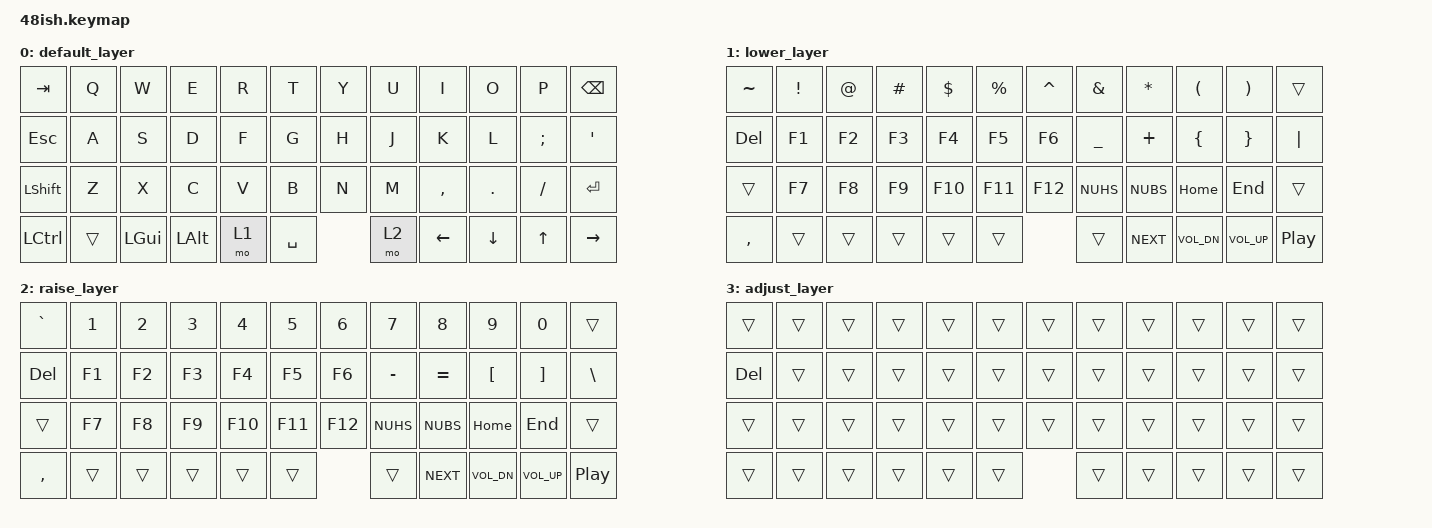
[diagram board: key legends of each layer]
#include <behaviors.dtsi>
#include <dt-bindings/zmk/keys.h>

/ {
	keymap {
		compatible = "zmk,keymap";

		default_layer { // Layer 0
			bindings = <
				&kp TAB     &kp Q      &kp W     &kp E     &kp R  &kp T      &kp Y      &kp U  &kp I      &kp O       &kp P      &kp BSPC
				&kp ESC     &kp A      &kp S     &kp D     &kp F  &kp G      &kp H      &kp J  &kp K      &kp L       &kp SEMI   &kp APOS
				&kp LSHIFT  &kp Z      &kp X     &kp C     &kp V  &kp B      &kp N      &kp M  &kp COMMA  &kp PERIOD  &kp SLASH  &kp ENTER
				&kp LCTRL   &trans     &kp LGUI  &kp LALT  &mo 1  &kp SPACE             &mo 2  &kp LEFT   &kp DOWN    &kp UP     &kp RIGHT
			>;
		};

		lower_layer { // Layer 1
			bindings = <
				&kp TILDE  &kp EXCL  &kp AT  &kp HASH  &kp DLLR  &kp PRCNT  &kp CARET  &kp AMPS   &kp STAR    &kp LPAR      &kp RPAR      &trans
				&kp DEL    &kp F1    &kp F2  &kp F3    &kp F4    &kp F5     &kp F6     &kp UNDER  &kp PLUS    &kp LBRC      &kp RBRC      &kp PIPE
				&trans     &kp F7    &kp F8  &kp F9    &kp F10   &kp F11    &kp F12    &kp NUHS   &kp NUBS    &kp HOME      &kp END       &trans
				&kp COMMA  &trans    &trans  &trans    &trans    &trans                &trans     &kp C_NEXT  &kp C_VOL_DN  &kp C_VOL_UP  &kp C_PP
			>;
		};

		raise_layer { // Layer 2
			bindings = <
				&kp GRAVE  &kp N1  &kp N2  &kp N3  &kp N4   &kp N5   &kp N6   &kp N7     &kp N8      &kp N9        &kp N0        &trans
				&kp DEL    &kp F1  &kp F2  &kp F3  &kp F4   &kp F5   &kp F6   &kp MINUS  &kp EQUAL   &kp LBKT      &kp RBKT      &kp BSLH
				&trans     &kp F7  &kp F8  &kp F9  &kp F10  &kp F11  &kp F12  &kp NUHS   &kp NUBS    &kp HOME      &kp END       &trans
				&kp COMMA  &trans  &trans  &trans  &trans   &trans   &trans              &kp C_NEXT  &kp C_VOL_DN  &kp C_VOL_UP  &kp C_PP
			>;
		};

		adjust_layer { // Layer 3
			bindings = <
				&trans   &trans  &trans  &trans  &trans  &trans  &trans  &trans  &trans  &trans  &trans  &trans
				&kp DEL  &trans  &trans  &trans  &trans  &trans  &trans  &trans  &trans  &trans  &trans  &trans
				&trans   &trans  &trans  &trans  &trans  &trans  &trans  &trans  &trans  &trans  &trans  &trans
				&trans   &trans  &trans  &trans  &trans  &trans          &trans  &trans  &trans  &trans  &trans
			>;
		};
	};

	conditional_layers {
		compatible = "zmk,conditional-layers";
		tri_layer {
			if-layers = <1 2>;
			then-layer = <3>;
		};
	};
};
